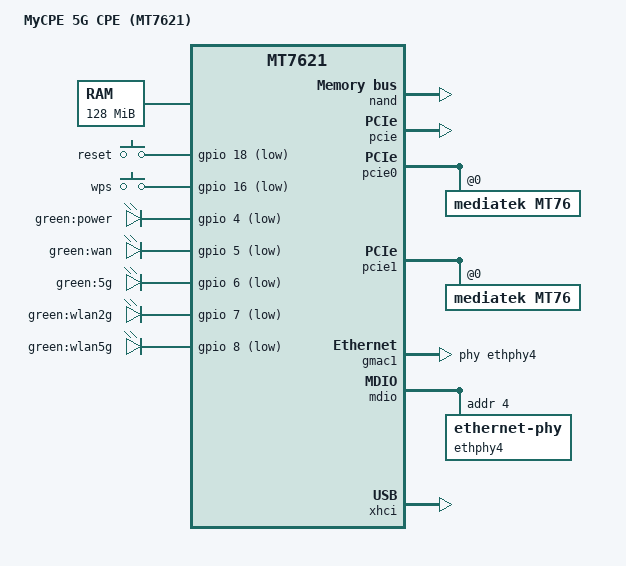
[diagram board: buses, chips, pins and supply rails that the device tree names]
// SPDX-License-Identifier: GPL-2.0-or-later OR MIT
/*
 * MyCPE-5G : MT7621A + MT7603E(2.4G) + MT7613BE(5G) + 128MiB 并行 NAND
 *
 * 自研板卡通用模板。标 [FILL] 的地方必须按原理图改成你板子上的真实 GPIO，
 * 否则表现是：按键无响应 / LED 常亮不灭 / 复位进不去 failsafe。
 *
 * 改动清单（按优先级）：
 *   1. memory 节点：128MiB=0x8000000，256MiB 改成 0x10000000
 *   2. 5 个 LED + 2 个按键的 GPIO 编号（MT7621 GPIO 0..94）
 *   3. factory 分区偏移与 WiFi 校准数据偏移（2.4G 在 0x0，5G 在 0x8000）
 *   4. 分区偏移必须和 U-Boot 的 nand read/write 地址严格对齐
 */

#include "mt7621.dtsi"

#include <dt-bindings/gpio/gpio.h>
#include <dt-bindings/input/input.h>

/ {
	compatible = "mycpe,5gcpe", "mediatek,mt7621-soc";
	model = "MyCPE 5G CPE (MT7621)";

	aliases {
		led-boot = &led_power;
		led-failsafe = &led_power;
		led-running = &led_power;
		led-upgrade = &led_power;
	};

	chosen {
		bootargs = "console=ttyS0,115200";
	};

	memory@0 {
		device_type = "memory";
		reg = <0x0 0x8000000>;		/* 128 MiB，256MiB 改 0x10000000 */
	};

	keys {
		compatible = "gpio-keys";

		reset {
			label = "reset";
			gpios = <&gpio 18 GPIO_ACTIVE_LOW>;	/* [FILL] */
			linux,code = <KEY_RESTART>;
		};

		wps {
			label = "wps";
			gpios = <&gpio 16 GPIO_ACTIVE_LOW>;	/* [FILL] */
			linux,code = <KEY_WPS_BUTTON>;
		};
	};

	leds {
		compatible = "gpio-leds";

		led_power: power {
			label = "green:power";
			gpios = <&gpio 4 GPIO_ACTIVE_LOW>;	/* [FILL] */
			default-state = "on";
		};

		wan {
			label = "green:wan";
			gpios = <&gpio 5 GPIO_ACTIVE_LOW>;	/* [FILL] */
		};

		led_5g: wwan {
			label = "green:5g";
			gpios = <&gpio 6 GPIO_ACTIVE_LOW>;	/* [FILL] */
		};

		wlan2g {
			label = "green:wlan2g";
			gpios = <&gpio 7 GPIO_ACTIVE_LOW>;	/* [FILL] */
		};

		wlan5g {
			label = "green:wlan5g";
			gpios = <&gpio 8 GPIO_ACTIVE_LOW>;	/* [FILL] */
		};
	};

	/*
	 * 5G 模组供电使能（M.2 的 3.3V/5V 负载开关）。
	 * 板上没有这颗控制脚就把 status 留在 disabled。
	 */
	reg_modem: regulator-modem {
		compatible = "regulator-fixed";
		regulator-name = "modem-power";
		gpio = <&gpio 9 GPIO_ACTIVE_HIGH>;		/* [FILL] */
		regulator-min-microvolt = <5000000>;
		regulator-max-microvolt = <5000000>;
		enable-active-high;
		regulator-always-on;
		status = "disabled";
	};
};

/* ---------------- 128MiB 并行 NAND（MT7621 NFC） ---------------- */
/*
 * 48 脚 TSOP 8-bit 并行 NAND，走 SoC 内置 NFC（mt7621-nfc）：
 *   - ECC 由控制器内部完成，DTS 不需要配 ecc 参数
 *   - 不需要 pinctrl，也不需要 nmbm
 *   - 坏块由上层 UBI 管理，所以 kernel/ubi 分区偏移可以写死
 *
 * 只有当你希望"坏块被透明映射成连续空间"（U-Boot 也按 nmbm 布局读写，
 * 常见于部分 OEM 方案）时，才在 &nand 里加：
 *      mediatek,nmbm;
 *      mediatek,bmt-max-ratio = <1>;
 *      mediatek,bmt-max-reserved-blocks = <64>;
 * 自研板 + 自己的 U-Boot 一般不加，加了反而会和 U-Boot 的裸地址读写打架。
 *
 * 分区偏移必须和 U-Boot 启动命令一致，例如 kernel 在 0x140000，
 * bootcmd 里就得是 nand read 0x82000000 0x140000 <size>。
 */
&nand {
	status = "okay";

	partitions {
		compatible = "fixed-partitions";
		#address-cells = <1>;
		#size-cells = <1>;

		partition@0 {
			label = "bootloader";
			reg = <0x0 0x80000>;		/* U-Boot 512K */
			read-only;
		};

		partition@80000 {
			label = "bootloader-env";
			reg = <0x80000 0x40000>;	/* U-Boot 环境变量 256K */
			read-only;
		};

		factory: partition@c0000 {
			label = "factory";
			reg = <0xc0000 0x80000>;	/* WiFi EEPROM 512K */
			read-only;
		};

		partition@140000 {
			label = "kernel";
			reg = <0x140000 0x600000>;	/* 6M */
		};

		partition@740000 {
			label = "ubi";
			reg = <0x740000 0x78c0000>;	/* 126.75M，含坏块冗余 */
		};
	};
};

/* ---------------- PCIe 双频 WiFi ---------------- */
&pcie {
	status = "okay";
};

/* PCIe0 : MT7603E —— 2.4GHz 2x2 */
&pcie0 {
	mt76@0,0 {
		compatible = "mediatek,mt76";
		reg = <0x0000 0 0 0 0>;
		mediatek,mtd-eeprom = <&factory 0x0000>;
		ieee80211-freq-limit = <2400000 2500000>;
	};
};

/* PCIe1 : MT7613BE —— 5GHz 2x2 (由 mt7615e 驱动) */
&pcie1 {
	mt76@0,0 {
		compatible = "mediatek,mt76";
		reg = <0x0000 0 0 0 0>;
		mediatek,mtd-eeprom = <&factory 0x8000>;
		ieee80211-freq-limit = <4900000 5925000>;
	};
};

/* ---------------- 以太网 : 4 LAN + 1 WAN ---------------- */
&gmac1 {
	status = "okay";
	label = "wan";
	phy-handle = <&ethphy4>;
};

&mdio {
	ethphy4: ethernet-phy@4 {
		reg = <4>;
	};
};

&switch0 {
	ports {
		port@0 {
			status = "okay";
			label = "lan1";
		};

		port@1 {
			status = "okay";
			label = "lan2";
		};

		port@2 {
			status = "okay";
			label = "lan3";
		};

		port@3 {
			status = "okay";
			label = "lan4";
		};
	};
};

/* ---------------- USB 3.0 : 5G 模组（M.2 / USB 模式） ---------------- */
&xhci {
	status = "okay";
};

&state_default {
	gpio {
		groups = "uart2", "uart3", "jtag";
		function = "gpio";
	};
};

/*
 * ============================================================
 * 备选：如果后续改版换成 8 脚 SPI-NAND（W25N01GV / GD5F1GQ5 等）
 * 注释掉上面的 &nand 块，改用下面这段。
 * MT7621 的 SPI-NAND 有两条路：
 *   A) 普通 SPI 控制器（下面这段，function "spi"）
 *   B) NFC 的 SPI 模式（pinctrl-0 = <&nand_pins>，function "nand1"）
 * 判断：dmesg 里没有 "spi-nand ... found" 就先试 B。
 * ============================================================
 *
 * &spi0 {
 *	status = "okay";
 *
 *	flash@0 {
 *		compatible = "spi-nand";
 *		reg = <0>;
 *		spi-max-frequency = <50000000>;
 *
 *		partitions {
 *			compatible = "fixed-partitions";
 *			#address-cells = <1>;
 *			#size-cells = <1>;
 *
 *			partition@0 {
 *				label = "bootloader";
 *				reg = <0x0 0x80000>;
 *				read-only;
 *			};
 *
 *			factory: partition@80000 {
 *				label = "factory";
 *				reg = <0x80000 0x80000>;
 *				read-only;
 *			};
 *
 *			partition@100000 {
 *				label = "kernel";
 *				reg = <0x100000 0x600000>;
 *			};
 *
 *			partition@700000 {
 *				label = "ubi";
 *				reg = <0x700000 0x7900000>;
 *			};
 *		};
 *	};
 * };
 */
